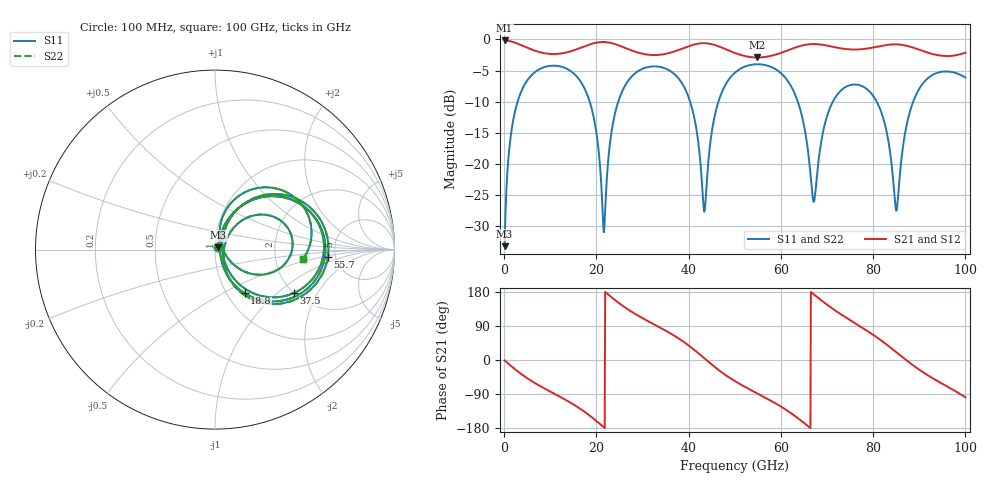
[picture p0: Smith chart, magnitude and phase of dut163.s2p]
! Touchstone file exported from HFSS 2026.1.0
!  File:  C:/ffzhzh/LocalFiles/Ansys_Project_Files/temp_train_TSV_RDL_163_1783648955_26216.aedt
!  Generated:  10:11:36 AM Jul 10, 2026
!  Design:  TSV_RDL
!  Project:  temp_train_TSV_RDL_163_1783648955_26216
! Variables:
!  h_bsmrdl = 4.55um
!  h_ox = 20um
!  h_rdl = 5um
!  h_sub = 58.11um
!  h_tmrdl = 2.98um
!  h_tsv = 58.11um
!  h_via = 3um
!  l_bsmrdl = 666.34um
!  l_sub = 2898.9um
!  l_tmrdl = 106.19um
!  m_sub = 200um
!  pitch = 44.04um
!  r_tsv = 5.11um
!  s_tmrdl = 10um
!  w_bsmrdl = 14.67um
!  w_sub = 500um
!  w_tmrdl = 10.37um
!  x_tsv_center1 = 111.375um
!  x_tsv_center2 = 792.385um
!  x_tsv_center3 = 908.945um
!  x_tsv_center4 = 1589.955um
!  x_tsv_center5 = 1706.515um
!  x_tsv_center6 = 2387.525um
# GHz S MA R 50.000000
! Terminal data exported
! Port[1] = TM_RDL1_1_T1
! Port[2] = TM_RDL5_1_T1
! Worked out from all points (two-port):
!   1000 points, 100 MHz to 100 GHz, reference 50 ohm
!   highest |S21| = -0.16 dB at 100 MHz (marker M1); lowest = -2.9 dB at 54.9 GHz (marker M2)
!   |S21| within 3 dB of the highest: start of sweep to end of sweep
!   lowest |S11| = -33.3 dB at 100 MHz (marker M3), VSWR 1.04, Z = 51.8 + j1.25 ohm
!   |S11| at or under -10 dB: 18.54 GHz to 24.74 GHz (6.197 GHz wide, 28.6 % of centre); 63.66 GHz to 71.27 GHz (7.605 GHz wide, 11.3 % of centre); 80.77 GHz to 88.68 GHz (7.917 GHz wide, 9.34 % of centre) (the widest 3 of 5)
!   |S22| runs from -33.3 to -4.0 dB; largest |S21 - S12| = 6.9e-11
!   S11 on the Smith chart (normalised r, x): 100 MHz: 1.04, +0.03; 18.8 GHz: 1.21, -0.64; 37.5 GHz: 2.00, -1.30; 55.7 GHz: 4.33, -0.56; 100 GHz: 2.89, -0.39
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0.1  0.02174 33.7  0.9821 -1.1  0.9821 -1.1  0.02174 33.7
! Gamma 0 0 0 0
! Port Impedance 50 0 50 0
1.6  0.1859 66.6  0.9617 -16.9  0.9617 -16.9  0.1859 66.6
4.3  0.4243 44.5  0.881 -42.3  0.881 -42.3  0.4243 44.5
10.6  0.6154 1.3  0.7637 -87.2  0.7637 -87.2  0.6154 1.3
16.8  0.4457 -40.3  0.8638 -131.2  0.8638 -131.2  0.4458 -40.3
18.8  0.2936 -55.8  0.9187 -149.1  0.9187 -149.1  0.2936 -55.8
21.6  0.02814 -3.2  0.9543 -177.3  0.9543 -177.3  0.02797 -3.3
25.1  0.3457 53.2  0.8893 148.3  0.8893 148.3  0.3457 53.2
33.4  0.6049 -2.4  0.7515 88.1  0.7515 88.1  0.6049 -2.4
37.5  0.5011 -28.9  0.8156 59.4  0.8156 59.4  0.5012 -29.0
43.4  0.04117 3.5  0.9338 4.6  0.9338 4.6  0.04075 3.4
45.9  0.2662 60.3  0.8971 -20.7  0.8971 -20.7  0.266 60.3
50.1  0.5434 30.7  0.7775 -56.3  0.7775 -56.3  0.5433 30.7
54.9  0.6322 1.2  0.7165 -88.3  0.7165 -88.3  0.6322 1.1
55.7  0.6301 -3.5  0.718 -93.4  0.718 -93.4  0.6301 -3.6
63.1  0.3594 -51.9  0.8606 -148.2  0.8606 -148.2  0.3594 -52.1
66.7  0.06312 -41.3  0.9188 177.4  0.9188 177.4  0.06216 -42.2
74.1  0.4161 19.1  0.8376 112.1  0.8376 112.1  0.4159 19.2
83.4  0.1452 -38.9  0.9079 36.2  0.9079 36.2  0.1452 -38.8
85.1  0.04248 27.9  0.9134 19.8  0.9134 19.8  0.04286 28.0
89.8  0.3898 59.0  0.8326 -24.0  0.8326 -24.0  0.3898 58.9
100  0.4942 -6.0  0.7846 -98.5  0.7846 -98.5  0.4941 -6.0
